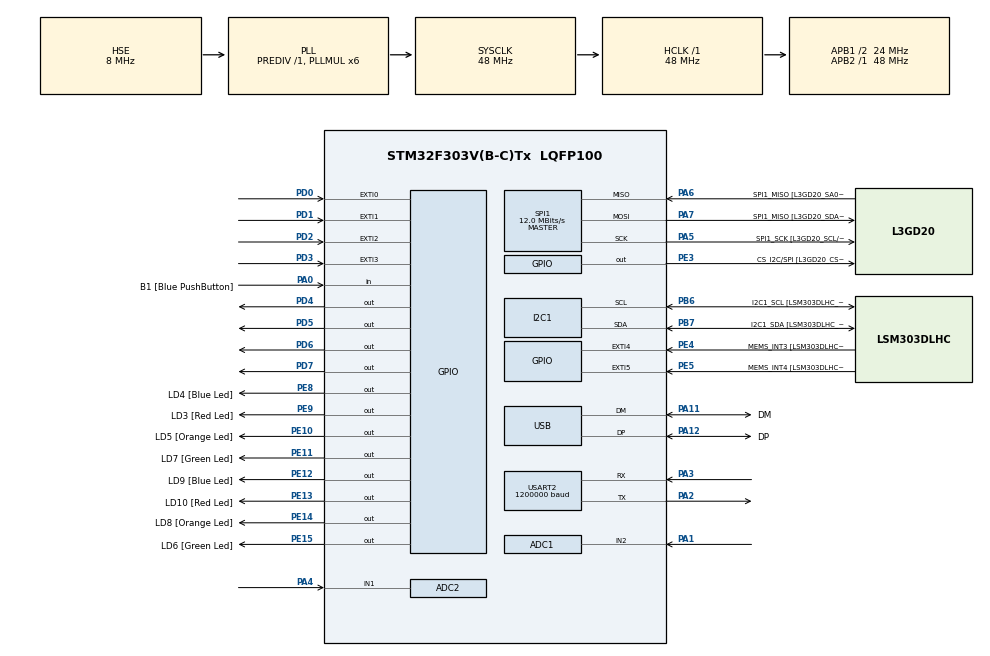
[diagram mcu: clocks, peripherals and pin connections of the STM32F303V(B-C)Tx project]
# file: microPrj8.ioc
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ADC1.Channel-0\#ChannelRegularConversion=ADC_CHANNEL_2
ADC1.ClockPrescaler=ADC_CLOCK_SYNC_PCLK_DIV4
ADC1.NbrOfConversionFlag=1
ADC1.Offset-0\#ChannelRegularConversion=0
ADC1.OffsetNumber-0\#ChannelRegularConversion=ADC_OFFSET_NONE
ADC1.Rank-0\#ChannelRegularConversion=1
ADC1.SamplingTime-0\#ChannelRegularConversion=ADC_SAMPLETIME_601CYCLES_5
ADC1.SamplingTimeOPAMP-0\#ChannelRegularConversion=ADC_SAMPLETIME_19CYCLES_5
ADC1.master=1
ADC2.Channel-0\#ChannelRegularConversion=ADC_CHANNEL_1
ADC2.ClockPrescaler=ADC_CLOCK_SYNC_PCLK_DIV4
ADC2.NbrOfConversionFlag=1
ADC2.Offset-0\#ChannelRegularConversion=0
ADC2.OffsetNumber-0\#ChannelRegularConversion=ADC_OFFSET_NONE
ADC2.Rank-0\#ChannelRegularConversion=1
ADC2.SamplingTime-0\#ChannelRegularConversion=ADC_SAMPLETIME_601CYCLES_5
ADC2.SamplingTimeOPAMP-0\#ChannelRegularConversion=ADC_SAMPLETIME_7CYCLES_5
I2C1.Timing=0x2000090E
I2C1.Timing-I2C=0x2000090E
Mcu.Family=STM32F3
Mcu.Name=STM32F303V(B-C)Tx
Mcu.Package=LQFP100
NVIC.ADC1_2_IRQn=true\:1\:0\:true\:false\:true\:true\:true\:true
NVIC.EXTI0_IRQn=true\:1\:0\:true\:false\:true\:true\:true\:true
NVIC.EXTI1_IRQn=true\:1\:0\:true\:false\:true\:true\:true\:true
NVIC.EXTI2_TSC_IRQn=true\:1\:0\:true\:false\:true\:true\:true\:true
NVIC.EXTI3_IRQn=true\:1\:0\:true\:false\:true\:true\:true\:true
NVIC.PriorityGroup=NVIC_PRIORITYGROUP_1
NVIC.TIM6_DAC_IRQn=true\:1\:0\:true\:false\:true\:true\:true\:true
PA0.GPIO_Label=B1 [Blue PushButton]
PA0.Signal=GPIO_Input
PA1.Mode=IN2-Single-Ended
PA1.Signal=ADC1_IN2
PA11.GPIO_Label=DM
PA11.Mode=Device
PA11.Signal=USB_DM
PA12.GPIO_Label=DP
PA12.Mode=Device
PA12.Signal=USB_DP
PA13.GPIO_Label=SWDIO
PA13.Mode=Serial_Wire
PA13.Signal=SYS_JTMS-SWDIO
PA14.GPIO_Label=SWCLK
PA14.Mode=Serial_Wire
PA14.Signal=SYS_JTCK-SWCLK
PA2.Mode=Asynchronous
PA2.Signal=USART2_TX
PA3.Mode=Asynchronous
PA3.Signal=USART2_RX
PA4.Mode=IN1-Single-Ended
PA4.Signal=ADC2_IN1
PA5.GPIO_Label=SPI1_SCK [L3GD20_SCL/SPC]
PA5.Mode=Full_Duplex_Master
PA5.Signal=SPI1_SCK
PA6.GPIO_Label=SPI1_MISO [L3GD20_SA0/SDO]
PA6.Mode=Full_Duplex_Master
PA6.Signal=SPI1_MISO
PA7.GPIO_Label=SPI1_MISO [L3GD20_SDA/SDI/SDO]
PA7.Mode=Full_Duplex_Master
PA7.Signal=SPI1_MOSI
PB3.GPIO_Label=SWO
PB3.Signal=SYS_JTDO-TRACESWO
PB6.GPIO_Label=I2C1_SCL [LSM303DLHC_SCL]
PB6.GPIO_Pu=GPIO_PULLUP
PB6.Mode=I2C
PB6.Signal=I2C1_SCL
PB7.GPIO_Label=I2C1_SDA [LSM303DLHC_SDA]
PB7.GPIO_Pu=GPIO_PULLUP
PB7.Mode=I2C
PB7.Signal=I2C1_SDA
PC14-OSC32_IN.GPIO_Label=OSC32_IN
PC14-OSC32_IN.Signal=RCC_OSC32_IN
PC15-OSC32_OUT.GPIO_Label=OSC32_OUT
PC15-OSC32_OUT.Signal=RCC_OSC32_OUT
PD0.GPIO_PuPd=GPIO_PULLDOWN
PD0.Signal=GPXTI0
PD1.GPIO_PuPd=GPIO_PULLDOWN
PD1.Signal=GPXTI1
PD2.GPIO_PuPd=GPIO_PULLDOWN
PD2.Signal=GPXTI2
PD3.GPIO_PuPd=GPIO_PULLDOWN
PD3.Signal=GPXTI3
PD4.Signal=GPIO_Output
PD5.Signal=GPIO_Output
PD6.Signal=GPIO_Output
PD7.Signal=GPIO_Output
PE10.GPIO_Label=LD5 [Orange Led]
PE10.Signal=GPIO_Output
PE11.GPIO_Label=LD7 [Green Led]
PE11.Signal=GPIO_Output
PE12.GPIO_Label=LD9 [Blue Led]
PE12.Signal=GPIO_Output
PE13.GPIO_Label=LD10 [Red Led]
PE13.Signal=GPIO_Output
PE14.GPIO_Label=LD8 [Orange Led]
PE14.Signal=GPIO_Output
PE15.GPIO_Label=LD6 [Green Led]
PE15.Signal=GPIO_Output
PE3.GPIO_Label=CS_I2C/SPI [L3GD20_CS_I2C/SPI]
PE3.Signal=GPIO_Output
PE4.GPIO_Label=MEMS_INT3 [LSM303DLHC_INT1]
PE4.GPIO_ModeDefaultEXTI=GPIO_MODE_EVT_RISING
PE4.Signal=GPXTI4
PE5.GPIO_Label=MEMS_INT4 [LSM303DLHC_INT2]
PE5.GPIO_ModeDefaultEXTI=GPIO_MODE_EVT_RISING
PE5.Signal=GPXTI5
PE8.GPIO_Label=LD4 [Blue Led]
PE8.Signal=GPIO_Output
PE9.GPIO_Label=LD3 [Red Led]
PE9.Signal=GPIO_Output
PF0-OSC_IN.GPIO_Label=OSC_IN
PF0-OSC_IN.Mode=HSE-External-Clock-Source
PF0-OSC_IN.Signal=RCC_OSC_IN
PF1-OSC_OUT.GPIO_Label=OSC_OUT
PF1-OSC_OUT.Signal=RCC_OSC_OUT
ProjectManager.HeapSize=0x200
ProjectManager.StackSize=0x400
ProjectManager.TargetToolchain=STM32CubeIDE
RCC.AHBFreq_Value=48000000
RCC.APB1CLKDivider=RCC_HCLK_DIV2
RCC.APB1Freq_Value=24000000
RCC.APB1TimFreq_Value=48000000
RCC.APB2Freq_Value=48000000
RCC.APB2TimFreq_Value=48000000
RCC.CortexFreq_Value=48000000
RCC.HCLKFreq_Value=48000000
RCC.HSE_VALUE=8000000
RCC.HSI_VALUE=8000000
RCC.LSE_VALUE=32768
RCC.PLLMUL=RCC_PLL_MUL6
RCC.SYSCLKFreq_VALUE=48000000
RCC.SYSCLKSourceVirtual=RCC_SYSCLKSOURCE_PLLCLK
RCC.USBFreq_Value=48000000
SPI1.BaudRatePrescaler=SPI_BAUDRATEPRESCALER_4
SPI1.BaudRatePrescaler-Full_Duplex_Master=SPI_BAUDRATEPRESCALER_2
SPI1.CalculateBaudRate=12.0 MBits/s
SPI1.CalculateBaudRate-Full_Duplex_Master=24.0 MBits/s
SPI1.Direction=SPI_DIRECTION_2LINES
SPI1.Mode=SPI_MODE_MASTER
SPI1.Mode-Full_Duplex_Master=SPI_MODE_MASTER
SPI1.VirtualType=VM_MASTER
TIM6.Period=9
TIM6.Prescaler=47999
USART2.BaudRate=1200000
USART2.VirtualMode-Asynchronous=VM_ASYNC
VP_TIM6_VS_ClockSourceINT.Mode=Enable_Timer
board=STM32F3DISCOVERY

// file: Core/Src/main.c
/* USER CODE BEGIN Header */
/**
 ******************************************************************************
 * @file           : main.c
 * @brief          : Main program body
 ******************************************************************************
 * @attention
 *
 * Copyright (c) 2022 STMicroelectronics.
 * All rights reserved.
 *
 * This software is licensed under terms that can be found in the LICENSE file
 * in the root directory of this software component.
 * If no LICENSE file comes with this software, it is provided AS-IS.
 *
 ******************************************************************************
 */
/* USER CODE END Header */
#include "main.h"

/* USER CODE BEGIN Includes */
#include <stdio.h>

#include "init.h"
#include "keypad.h"
#include "mathStuff.h"
#include "adcStuff.h"
/* USER CODE END Includes */

ADC_HandleTypeDef hadc1;
ADC_HandleTypeDef hadc2;

I2C_HandleTypeDef hi2c1;

SPI_HandleTypeDef hspi1;

TIM_HandleTypeDef htim6;

UART_HandleTypeDef huart2;

PCD_HandleTypeDef hpcd_USB_FS;

void SystemClock_Config(void);
static void MX_GPIO_Init(void);
static void MX_I2C1_Init(void);
static void MX_SPI1_Init(void);
static void MX_USB_PCD_Init(void);
static void MX_ADC1_Init(void);
static void MX_ADC2_Init(void);
static void MX_TIM6_Init(void);
static void MX_USART2_UART_Init(void);

int main(void) {

	/* MCU Configuration--------------------------------------------------------*/

	/* Reset of all peripherals, Initializes the Flash interface and the Systick. */
	HAL_Init();

	/* Configure the system clock */
	SystemClock_Config();

	/* Initialize all configured peripherals */
	MX_GPIO_Init();
	MX_I2C1_Init();
	MX_SPI1_Init();
	MX_USB_PCD_Init();
	MX_ADC1_Init();
	MX_ADC2_Init();
	MX_TIM6_Init();
	MX_USART2_UART_Init();
	/* USER CODE BEGIN 2 */
	init();
	/* USER CODE END 2 */

	/* Infinite loop */
	while (1) {

	}
}

void SystemClock_Config(void) {
	RCC_OscInitTypeDef RCC_OscInitStruct = { 0 };
	RCC_ClkInitTypeDef RCC_ClkInitStruct = { 0 };
	RCC_PeriphCLKInitTypeDef PeriphClkInit = { 0 };

	/** Initializes the RCC Oscillators according to the specified parameters
	 * in the RCC_OscInitTypeDef structure.
	 */
	RCC_OscInitStruct.OscillatorType = RCC_OSCILLATORTYPE_HSI | RCC_OSCILLATORTYPE_HSE;
	RCC_OscInitStruct.HSEState = RCC_HSE_BYPASS;
	RCC_OscInitStruct.HSEPredivValue = RCC_HSE_PREDIV_DIV1;
	RCC_OscInitStruct.HSIState = RCC_HSI_ON;
	RCC_OscInitStruct.HSICalibrationValue = RCC_HSICALIBRATION_DEFAULT;
	RCC_OscInitStruct.PLL.PLLState = RCC_PLL_ON;
	RCC_OscInitStruct.PLL.PLLSource = RCC_PLLSOURCE_HSE;
	RCC_OscInitStruct.PLL.PLLMUL = RCC_PLL_MUL6;
	if (HAL_RCC_OscConfig(&RCC_OscInitStruct) != HAL_OK) {
		Error_Handler();
	}

	/** Initializes the CPU, AHB and APB buses clocks
	 */
	RCC_ClkInitStruct.ClockType = RCC_CLOCKTYPE_HCLK | RCC_CLOCKTYPE_SYSCLK | RCC_CLOCKTYPE_PCLK1
			| RCC_CLOCKTYPE_PCLK2;
	RCC_ClkInitStruct.SYSCLKSource = RCC_SYSCLKSOURCE_PLLCLK;
	RCC_ClkInitStruct.AHBCLKDivider = RCC_SYSCLK_DIV1;
	RCC_ClkInitStruct.APB1CLKDivider = RCC_HCLK_DIV2;
	RCC_ClkInitStruct.APB2CLKDivider = RCC_HCLK_DIV1;

	if (HAL_RCC_ClockConfig(&RCC_ClkInitStruct, FLASH_LATENCY_1) != HAL_OK) {
		Error_Handler();
	}
	PeriphClkInit.PeriphClockSelection = RCC_PERIPHCLK_USB | RCC_PERIPHCLK_USART2
			| RCC_PERIPHCLK_I2C1;
	PeriphClkInit.Usart2ClockSelection = RCC_USART2CLKSOURCE_PCLK1;
	PeriphClkInit.I2c1ClockSelection = RCC_I2C1CLKSOURCE_HSI;
	PeriphClkInit.USBClockSelection = RCC_USBCLKSOURCE_PLL;
	if (HAL_RCCEx_PeriphCLKConfig(&PeriphClkInit) != HAL_OK) {
		Error_Handler();
	}
}

static void MX_ADC1_Init(void) {

	ADC_MultiModeTypeDef multimode = { 0 };
	ADC_ChannelConfTypeDef sConfig = { 0 };

	/** Common config
	 */
	hadc1.Instance = ADC1;
	hadc1.Init.ClockPrescaler = ADC_CLOCK_SYNC_PCLK_DIV4;
	hadc1.Init.Resolution = ADC_RESOLUTION_12B;
	hadc1.Init.ScanConvMode = ADC_SCAN_DISABLE;
	hadc1.Init.ContinuousConvMode = DISABLE;
	hadc1.Init.DiscontinuousConvMode = DISABLE;
	hadc1.Init.ExternalTrigConvEdge = ADC_EXTERNALTRIGCONVEDGE_NONE;
	hadc1.Init.ExternalTrigConv = ADC_SOFTWARE_START;
	hadc1.Init.DataAlign = ADC_DATAALIGN_RIGHT;
	hadc1.Init.NbrOfConversion = 1;
	hadc1.Init.DMAContinuousRequests = DISABLE;
	hadc1.Init.EOCSelection = ADC_EOC_SINGLE_CONV;
	hadc1.Init.LowPowerAutoWait = DISABLE;
	hadc1.Init.Overrun = ADC_OVR_DATA_OVERWRITTEN;
	if (HAL_ADC_Init(&hadc1) != HAL_OK) {
		Error_Handler();
	}

	/** Configure the ADC multi-mode
	 */
	multimode.Mode = ADC_MODE_INDEPENDENT;
	if (HAL_ADCEx_MultiModeConfigChannel(&hadc1, &multimode) != HAL_OK) {
		Error_Handler();
	}

	/** Configure Regular Channel
	 */
	sConfig.Channel = ADC_CHANNEL_2;
	sConfig.Rank = ADC_REGULAR_RANK_1;
	sConfig.SingleDiff = ADC_SINGLE_ENDED;
	sConfig.SamplingTime = ADC_SAMPLETIME_601CYCLES_5;
	sConfig.OffsetNumber = ADC_OFFSET_NONE;
	sConfig.Offset = 0;
	if (HAL_ADC_ConfigChannel(&hadc1, &sConfig) != HAL_OK) {
		Error_Handler();
	}

}

static void MX_ADC2_Init(void) {

	ADC_ChannelConfTypeDef sConfig = { 0 };

	/** Common config
	 */
	hadc2.Instance = ADC2;
	hadc2.Init.ClockPrescaler = ADC_CLOCK_SYNC_PCLK_DIV4;
	hadc2.Init.Resolution = ADC_RESOLUTION_12B;
	hadc2.Init.ScanConvMode = ADC_SCAN_DISABLE;
	hadc2.Init.ContinuousConvMode = DISABLE;
	hadc2.Init.DiscontinuousConvMode = DISABLE;
	hadc2.Init.ExternalTrigConvEdge = ADC_EXTERNALTRIGCONVEDGE_NONE;
	hadc2.Init.ExternalTrigConv = ADC_SOFTWARE_START;
	hadc2.Init.DataAlign = ADC_DATAALIGN_RIGHT;
	hadc2.Init.NbrOfConversion = 1;
	hadc2.Init.DMAContinuousRequests = DISABLE;
	hadc2.Init.EOCSelection = ADC_EOC_SINGLE_CONV;
	hadc2.Init.LowPowerAutoWait = DISABLE;
	hadc2.Init.Overrun = ADC_OVR_DATA_OVERWRITTEN;
	if (HAL_ADC_Init(&hadc2) != HAL_OK) {
		Error_Handler();
	}

	/** Configure Regular Channel
	 */
	sConfig.Channel = ADC_CHANNEL_1;
	sConfig.Rank = ADC_REGULAR_RANK_1;
	sConfig.SingleDiff = ADC_SINGLE_ENDED;
	sConfig.SamplingTime = ADC_SAMPLETIME_601CYCLES_5;
	sConfig.OffsetNumber = ADC_OFFSET_NONE;
	sConfig.Offset = 0;
	if (HAL_ADC_ConfigChannel(&hadc2, &sConfig) != HAL_OK) {
		Error_Handler();
	}

}

static void MX_I2C1_Init(void) {

	hi2c1.Instance = I2C1;
	hi2c1.Init.Timing = 0x2000090E;
	hi2c1.Init.OwnAddress1 = 0;
	hi2c1.Init.AddressingMode = I2C_ADDRESSINGMODE_7BIT;
	hi2c1.Init.DualAddressMode = I2C_DUALADDRESS_DISABLE;
	hi2c1.Init.OwnAddress2 = 0;
	hi2c1.Init.OwnAddress2Masks = I2C_OA2_NOMASK;
	hi2c1.Init.GeneralCallMode = I2C_GENERALCALL_DISABLE;
	hi2c1.Init.NoStretchMode = I2C_NOSTRETCH_DISABLE;
	if (HAL_I2C_Init(&hi2c1) != HAL_OK) {
		Error_Handler();
	}

	/** Configure Analogue filter
	 */
	if (HAL_I2CEx_ConfigAnalogFilter(&hi2c1, I2C_ANALOGFILTER_ENABLE) != HAL_OK) {
		Error_Handler();
	}

	/** Configure Digital filter
	 */
	if (HAL_I2CEx_ConfigDigitalFilter(&hi2c1, 0) != HAL_OK) {
		Error_Handler();
	}

}

static void MX_SPI1_Init(void) {

	/* SPI1 parameter configuration*/
	hspi1.Instance = SPI1;
	hspi1.Init.Mode = SPI_MODE_MASTER;
	hspi1.Init.Direction = SPI_DIRECTION_2LINES;
	hspi1.Init.DataSize = SPI_DATASIZE_4BIT;
	hspi1.Init.CLKPolarity = SPI_POLARITY_LOW;
	hspi1.Init.CLKPhase = SPI_PHASE_1EDGE;
	hspi1.Init.NSS = SPI_NSS_SOFT;
	hspi1.Init.BaudRatePrescaler = SPI_BAUDRATEPRESCALER_4;
	hspi1.Init.FirstBit = SPI_FIRSTBIT_MSB;
	hspi1.Init.TIMode = SPI_TIMODE_DISABLE;
	hspi1.Init.CRCCalculation = SPI_CRCCALCULATION_DISABLE;
	hspi1.Init.CRCPolynomial = 7;
	hspi1.Init.CRCLength = SPI_CRC_LENGTH_DATASIZE;
	hspi1.Init.NSSPMode = SPI_NSS_PULSE_ENABLE;
	if (HAL_SPI_Init(&hspi1) != HAL_OK) {
		Error_Handler();
	}

}

static void MX_TIM6_Init(void) {

	TIM_MasterConfigTypeDef sMasterConfig = { 0 };

	htim6.Instance = TIM6;
	htim6.Init.Prescaler = 47999;
	htim6.Init.CounterMode = TIM_COUNTERMODE_UP;
	htim6.Init.Period = 9;
	htim6.Init.AutoReloadPreload = TIM_AUTORELOAD_PRELOAD_DISABLE;
	if (HAL_TIM_Base_Init(&htim6) != HAL_OK) {
		Error_Handler();
	}
	sMasterConfig.MasterOutputTrigger = TIM_TRGO_RESET;
	sMasterConfig.MasterSlaveMode = TIM_MASTERSLAVEMODE_DISABLE;
	if (HAL_TIMEx_MasterConfigSynchronization(&htim6, &sMasterConfig) != HAL_OK) {
		Error_Handler();
	}

}

static void MX_USART2_UART_Init(void) {

	huart2.Instance = USART2;
	huart2.Init.BaudRate = 1200000;
	huart2.Init.WordLength = UART_WORDLENGTH_8B;
	huart2.Init.StopBits = UART_STOPBITS_1;
	huart2.Init.Parity = UART_PARITY_NONE;
	huart2.Init.Mode = UART_MODE_TX_RX;
	huart2.Init.HwFlowCtl = UART_HWCONTROL_NONE;
	huart2.Init.OverSampling = UART_OVERSAMPLING_16;
	huart2.Init.OneBitSampling = UART_ONE_BIT_SAMPLE_DISABLE;
	huart2.AdvancedInit.AdvFeatureInit = UART_ADVFEATURE_NO_INIT;
	if (HAL_UART_Init(&huart2) != HAL_OK) {
		Error_Handler();
	}

}

static void MX_USB_PCD_Init(void) {

	hpcd_USB_FS.Instance = USB;
	hpcd_USB_FS.Init.dev_endpoints = 8;
	hpcd_USB_FS.Init.speed = PCD_SPEED_FULL;
	hpcd_USB_FS.Init.phy_itface = PCD_PHY_EMBEDDED;
	hpcd_USB_FS.Init.low_power_enable = DISABLE;
	hpcd_USB_FS.Init.battery_charging_enable = DISABLE;
	if (HAL_PCD_Init(&hpcd_USB_FS) != HAL_OK) {
		Error_Handler();
	}

}

static void MX_GPIO_Init(void) {
	GPIO_InitTypeDef GPIO_InitStruct = { 0 };

	/* GPIO Ports Clock Enable */
	__HAL_RCC_GPIOE_CLK_ENABLE();
	__HAL_RCC_GPIOC_CLK_ENABLE();
	__HAL_RCC_GPIOF_CLK_ENABLE();
	__HAL_RCC_GPIOA_CLK_ENABLE();
	__HAL_RCC_GPIOD_CLK_ENABLE();
	__HAL_RCC_GPIOB_CLK_ENABLE();

	/*Configure GPIO pin Output Level */
	HAL_GPIO_WritePin(GPIOE,
	CS_I2C_SPI_Pin | LD4_Pin | LD3_Pin | LD5_Pin | LD7_Pin | LD9_Pin | LD10_Pin | LD8_Pin | LD6_Pin,
			GPIO_PIN_RESET);

	/*Configure GPIO pin Output Level */
	HAL_GPIO_WritePin(GPIOD, GPIO_PIN_4 | GPIO_PIN_5 | GPIO_PIN_6 | GPIO_PIN_7, GPIO_PIN_RESET);

	/*Configure GPIO pins : CS_I2C_SPI_Pin LD4_Pin LD3_Pin LD5_Pin
	 LD7_Pin LD9_Pin LD10_Pin LD8_Pin
	 LD6_Pin */
	GPIO_InitStruct.Pin = CS_I2C_SPI_Pin | LD4_Pin | LD3_Pin | LD5_Pin | LD7_Pin | LD9_Pin
			| LD10_Pin | LD8_Pin | LD6_Pin;
	GPIO_InitStruct.Mode = GPIO_MODE_OUTPUT_PP;
	GPIO_InitStruct.Pull = GPIO_NOPULL;
	GPIO_InitStruct.Speed = GPIO_SPEED_FREQ_LOW;
	HAL_GPIO_Init(GPIOE, &GPIO_InitStruct);

	/*Configure GPIO pins : MEMS_INT3_Pin MEMS_INT4_Pin */
	GPIO_InitStruct.Pin = MEMS_INT3_Pin | MEMS_INT4_Pin;
	GPIO_InitStruct.Mode = GPIO_MODE_EVT_RISING;
	GPIO_InitStruct.Pull = GPIO_NOPULL;
	HAL_GPIO_Init(GPIOE, &GPIO_InitStruct);

	/*Configure GPIO pin : B1_Pin */
	GPIO_InitStruct.Pin = B1_Pin;
	GPIO_InitStruct.Mode = GPIO_MODE_INPUT;
	GPIO_InitStruct.Pull = GPIO_NOPULL;
	HAL_GPIO_Init(B1_GPIO_Port, &GPIO_InitStruct);

	/*Configure GPIO pins : PD0 PD1 PD2 PD3 */
	GPIO_InitStruct.Pin = GPIO_PIN_0 | GPIO_PIN_1 | GPIO_PIN_2 | GPIO_PIN_3;
	GPIO_InitStruct.Mode = GPIO_MODE_IT_RISING;
	GPIO_InitStruct.Pull = GPIO_PULLDOWN;
	HAL_GPIO_Init(GPIOD, &GPIO_InitStruct);

	/*Configure GPIO pins : PD4 PD5 PD6 PD7 */
	GPIO_InitStruct.Pin = GPIO_PIN_4 | GPIO_PIN_5 | GPIO_PIN_6 | GPIO_PIN_7;
	GPIO_InitStruct.Mode = GPIO_MODE_OUTPUT_PP;
	GPIO_InitStruct.Pull = GPIO_NOPULL;
	GPIO_InitStruct.Speed = GPIO_SPEED_FREQ_LOW;
	HAL_GPIO_Init(GPIOD, &GPIO_InitStruct);

	/* EXTI interrupt init*/
	HAL_NVIC_SetPriority(EXTI0_IRQn, 1, 0);
	HAL_NVIC_EnableIRQ(EXTI0_IRQn);

	HAL_NVIC_SetPriority(EXTI1_IRQn, 1, 0);
	HAL_NVIC_EnableIRQ(EXTI1_IRQn);

	HAL_NVIC_SetPriority(EXTI2_TSC_IRQn, 1, 0);
	HAL_NVIC_EnableIRQ(EXTI2_TSC_IRQn);

	HAL_NVIC_SetPriority(EXTI3_IRQn, 1, 0);
	HAL_NVIC_EnableIRQ(EXTI3_IRQn);

}

/* USER CODE BEGIN 4 */

void HAL_GPIO_EXTI_Callback(uint16_t GPIO_Pin) {
	if (last_gpio_exti + 200 > HAL_GetTick()) {
		return;
	}
	last_gpio_exti = HAL_GetTick();

	handleKeypad(GPIO_Pin);
}

void HAL_ADC_ConvCpltCallback(ADC_HandleTypeDef *hadc) {
	if (hadc->Instance == ADC1) { // volume

		handleVolume(hadc);

		HAL_ADC_Start_IT(&hadc1);

	} else if (hadc->Instance == ADC2) { // light

		handleLight(hadc);

		HAL_ADC_Start_IT(&hadc2);
	}
}

void HAL_TIM_PeriodElapsedCallback(TIM_HandleTypeDef *htim) {
	if (htim->Instance == TIM6) {
		xChange();
	}
}

/* USER CODE END 4 */

void Error_Handler(void) {
	__disable_irq();
	while (1) {
	}
}
